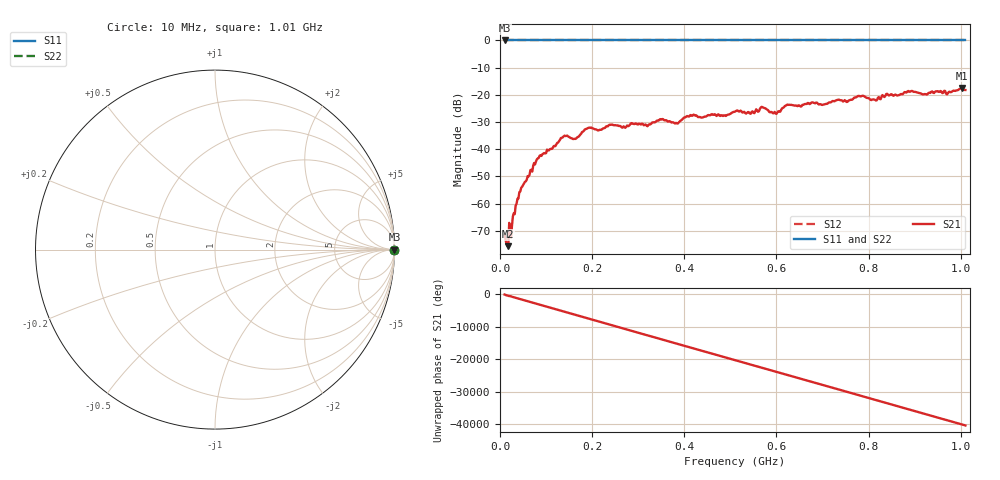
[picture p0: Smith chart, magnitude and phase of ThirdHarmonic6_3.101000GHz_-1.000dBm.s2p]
! 8/17/2025 9:09:00 AM
! C:\ANRITSUVNA\TEMP\TEMP.S2P
! CHANNEL.1
! TR.MEASUREMENT
! RAW.DATA
! RF.CORRECTION.OFF
! AVERAGING.OFF
! IF.BANDWIDTH: 5KHZ
! SWEEPTYPE:  FREQ.SWEEP(Linear)
! Reference Plane Port Info
! PORT:  PORT1  PORT2
! DISTANCE:  0  m  0  m
! TIME:  0  s  0  s
! PHASE.OFFSET:  0  deg.  0  deg.
! LOSS:  0  dB  0  dB
! REF.LOSS:  0  dB  0  dB
! REF.FREQ:  0  Hz  0  Hz
! Power Info
! POWER:  -20  dBm  -20  dBm
! EFF.POWER:  -20  dBm  -20  dBm
! SOURCE.ATTEN:  0  dB  0  dB
! TEST.ATTEN:  0  dB  0  dB
# GHZ S RI R 50.0
! FREQ.GHZ  S11RE  S11IM  S21RE  S21IM  S12RE  S12IM  S22RE  S22IM
!; PortSelection: Port_12
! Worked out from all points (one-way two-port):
!   501 points, 10 MHz to 1.01 GHz, reference 50 ohm
!   highest |S21| = -17.50 dB at 1.002 GHz (marker M1); lowest = -75.7 dB at 18 MHz (marker M2)
!   lowest |S11| = 0.0 dB at 10 MHz (marker M3)
!   |S11| at or under -10 dB: nowhere
!   |S22| runs from 0.0 to 0.0 dB; largest |S21 - S12| = 1.1
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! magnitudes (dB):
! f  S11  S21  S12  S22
! 10 MHz  0.0  -71.3  0.0  0.0
! 14 MHz  0.0  -74.9  0.0  0.0
! 18 MHz  0.0  -75.7  0.0  0.0
! 46 MHz  0.0  -54.2  0.0  0.0
! 82 MHz  0.0  -43.4  0.0  0.0
! 136 MHz  0.0  -35.7  0.0  0.0
! 162 MHz  0.0  -36.2  0.0  0.0
! 178 MHz  0.0  -33.7  0.0  0.0
! 344 MHz  0.0  -29.5  0.0  0.0
! 382 MHz  0.0  -30.3  0.0  0.0
! 416 MHz  0.0  -27.7  0.0  0.0
! 510 MHz  0.0  -26.2  0.0  0.0
! 548 MHz  0.0  -26.1  0.0  0.0
! 570 MHz  0.0  -24.6  0.0  0.0
! 596 MHz  0.0  -26.3  0.0  0.0
! 624 MHz  0.0  -23.6  0.0  0.0
! 678 MHz  0.0  -22.8  0.0  0.0
! 782 MHz  0.0  -20.6  0.0  0.0
! 814 MHz  0.0  -21.9  0.0  0.0
! 844 MHz  0.0  -20.2  0.0  0.0
! 1.002 GHz  0.0  -17.5  0.0  0.0
! 1.01 GHz  0.0  -18.2  0.0  0.0
